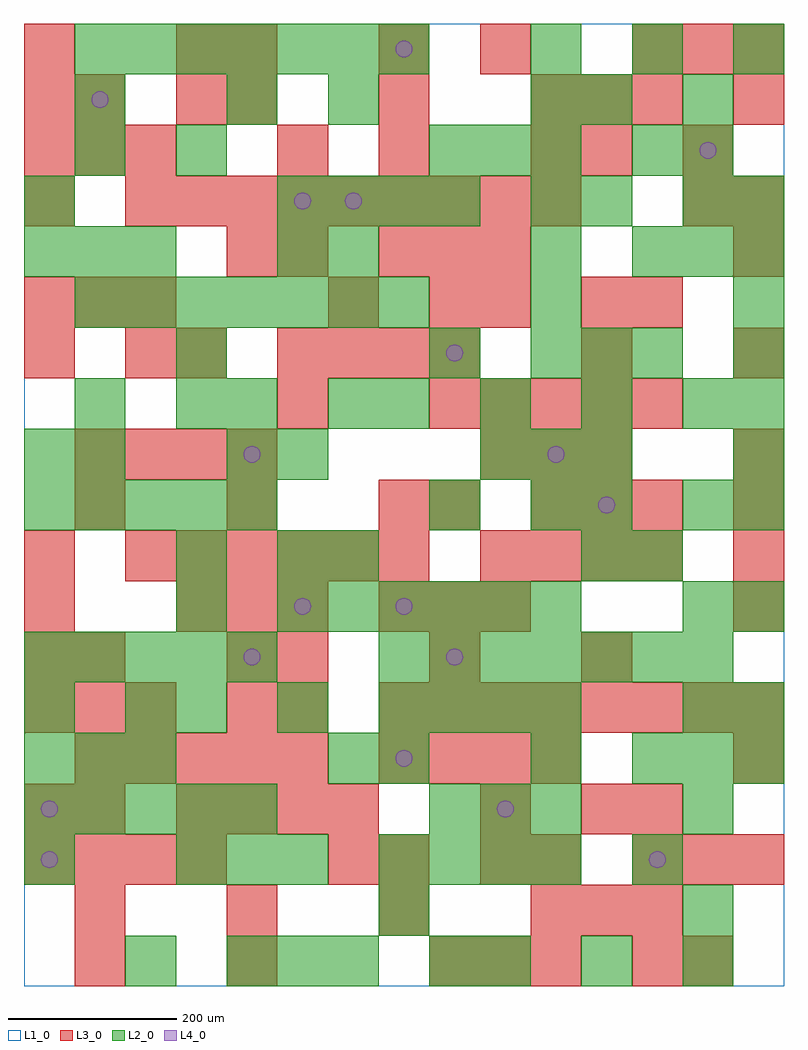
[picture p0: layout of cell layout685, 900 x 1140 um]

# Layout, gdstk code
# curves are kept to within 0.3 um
import gdstk
lib = gdstk.Library(unit=1e-6, precision=1e-09)
def R(c, l, rs):  # rectangles x0, y0, x1, y1
    for r in rs: c.add(gdstk.rectangle(r[:2], r[2:], *l))
def A(c, l, x, y, w, h, nx, ny, dx, dy):  # array of equal rectangles
    R(c, l, [(x+i*dx, y+j*dy, x+i*dx+w, y+j*dy+h) for i in range(nx) for j in range(ny)])
def P(c, l, *ps):  # polygons
    for p in ps: c.add(gdstk.Polygon(p, *l))
L1_0 = (1, 0)
L2_0 = (2, 0)
L3_0 = (3, 0)
L4_0 = (4, 0)

layout685 = lib.new_cell('layout685')
R(layout685, L1_0, [(0,0,900,1140)])
A(layout685, L2_0, 240, 0, 60, 60, 3, 1, 60, 0)
A(layout685, L2_0, 540, 0, 60, 60, 3, 1, 120, 0)
A(layout685, L2_0, 780, 60, 60, 60, 1, 5, 0, 120)
A(layout685, L2_0, 180, 120, 60, 60, 3, 1, 60, 0)
A(layout685, L2_0, 420, 120, 60, 60, 4, 1, 60, 0)
A(layout685, L2_0, 0, 180, 60, 60, 5, 3, 60, 180)
A(layout685, L2_0, 480, 180, 60, 60, 3, 2, 60, 120)
A(layout685, L2_0, 0, 240, 60, 60, 3, 2, 60, 600)
A(layout685, L2_0, 720, 240, 60, 60, 3, 2, 60, 600)
A(layout685, L2_0, 0, 300, 60, 60, 1, 3, 0, 300)
A(layout685, L2_0, 180, 300, 60, 60, 3, 1, 120, 0)
A(layout685, L2_0, 840, 300, 60, 60, 1, 3, 0, 120)
A(layout685, L2_0, 420, 360, 60, 60, 7, 1, 60, 0)
A(layout685, L2_0, 300, 420, 60, 60, 6, 1, 60, 0)
A(layout685, L2_0, 360, 480, 60, 60, 1, 4, 0, 180)
A(layout685, L2_0, 540, 600, 60, 60, 3, 1, 60, 0)
A(layout685, L2_0, 840, 600, 60, 60, 1, 4, 0, 60)
A(layout685, L2_0, 420, 660, 60, 60, 4, 1, 120, 0)
A(layout685, L2_0, 600, 720, 60, 60, 3, 1, 60, 0)
A(layout685, L2_0, 60, 780, 60, 60, 7, 2, 60, 300)
A(layout685, L2_0, 600, 780, 60, 60, 1, 3, 0, 60)
A(layout685, L2_0, 300, 900, 60, 60, 4, 1, 60, 0)
A(layout685, L2_0, 780, 900, 60, 60, 1, 3, 0, 60)
A(layout685, L2_0, 480, 960, 60, 60, 3, 1, 60, 0)
A(layout685, L2_0, 600, 1080, 60, 60, 3, 1, 120, 0)
R(layout685, L2_0, [(120,0,180,60), (480,0,540,60), (420,60,480,120), (0,120,60,180), (720,120,780,180), (360,240,420,300), (420,240,480,300), (600,240,660,300), (120,300,180,360), (180,420,240,480), (180,480,240,540), (300,480,360,540), (660,480,720,540), (720,480,780,540), (480,540,540,600), (600,540,660,600), (660,540,720,600), (60,600,120,660), (240,600,300,660), (300,600,360,660), (60,660,120,720), (180,660,240,720), (240,660,300,720), (180,720,240,780), (480,720,540,780), (300,840,360,900), (660,900,720,960), (840,900,900,960), (60,960,120,1020), (180,960,240,1020), (720,960,780,1020), (60,1020,120,1080), (240,1020,300,1080), (600,1020,660,1080), (660,1020,720,1080)])
A(layout685, L3_0, 60, 0, 60, 60, 1, 3, 0, 180)
A(layout685, L3_0, 480, 0, 60, 60, 3, 1, 60, 0)
A(layout685, L3_0, 60, 60, 60, 60, 4, 1, 180, 0)
A(layout685, L3_0, 0, 120, 60, 60, 4, 1, 60, 0)
A(layout685, L3_0, 720, 120, 60, 60, 3, 2, 60, 960)
A(layout685, L3_0, 180, 180, 60, 60, 4, 1, 60, 0)
A(layout685, L3_0, 60, 240, 60, 60, 5, 1, 60, 0)
A(layout685, L3_0, 420, 240, 60, 60, 4, 1, 60, 0)
A(layout685, L3_0, 0, 300, 60, 60, 3, 2, 60, 480)
A(layout685, L3_0, 420, 300, 60, 60, 8, 1, 60, 0)
A(layout685, L3_0, 0, 360, 60, 60, 1, 3, 0, 60)
A(layout685, L3_0, 300, 360, 60, 60, 3, 1, 180, 0)
A(layout685, L3_0, 180, 420, 60, 60, 3, 1, 60, 0)
A(layout685, L3_0, 420, 420, 60, 60, 3, 2, 60, 420)
A(layout685, L3_0, 840, 420, 60, 60, 1, 4, 0, 60)
A(layout685, L3_0, 120, 480, 60, 60, 6, 1, 60, 0)
A(layout685, L3_0, 540, 480, 60, 60, 4, 1, 60, 0)
A(layout685, L3_0, 60, 540, 60, 60, 3, 1, 180, 0)
A(layout685, L3_0, 600, 540, 60, 60, 3, 1, 60, 0)
A(layout685, L3_0, 60, 600, 60, 60, 4, 1, 60, 0)
A(layout685, L3_0, 540, 600, 60, 60, 3, 1, 60, 0)
A(layout685, L3_0, 480, 660, 60, 60, 5, 1, 60, 0)
A(layout685, L3_0, 300, 720, 60, 60, 4, 1, 60, 0)
A(layout685, L3_0, 120, 900, 60, 60, 9, 1, 60, 0)
A(layout685, L3_0, 0, 960, 60, 60, 3, 1, 60, 0)
A(layout685, L3_0, 240, 1020, 60, 60, 3, 1, 180, 0)
R(layout685, L3_0, [(240,0,300,60), (720,0,780,60), (780,0,840,60), (660,60,720,120), (720,60,780,120), (360,120,420,180), (420,120,480,180), (540,120,600,180), (600,120,660,180), (0,180,60,240), (540,180,600,240), (660,180,720,240), (720,180,780,240), (840,240,900,300), (240,300,300,360), (300,300,360,360), (240,360,300,420), (480,540,540,600), (300,660,360,720), (0,720,60,780), (120,720,180,780), (180,720,240,780), (660,720,720,780), (840,720,900,780), (360,780,420,840), (480,780,540,840), (540,780,600,840), (660,780,720,840), (720,780,780,840), (240,840,300,900), (300,840,360,900), (840,840,900,900), (0,900,60,960), (780,900,840,960), (840,900,900,960), (300,960,360,1020), (420,960,480,1020), (600,960,660,1020), (660,960,720,1020), (780,960,840,1020), (0,1020,60,1080), (60,1020,120,1080), (180,1020,240,1080), (660,1020,720,1080), (720,1020,780,1080), (840,1020,900,1080), (0,1080,60,1140), (180,1080,240,1140), (240,1080,300,1140), (420,1080,480,1140), (540,1080,600,1140)])
P(layout685, L4_0, [(40,150),(39.239,153.827),(37.071,157.071),(33.827,159.239),(30,160),(26.173,159.239),(22.929,157.071),(20.761,153.827),(20,150),(20.761,146.173),(22.929,142.929),(26.173,140.761),(30,140),(33.827,140.761),(37.071,142.929),(39.239,146.173)],
  [(40,210),(39.239,213.827),(37.071,217.071),(33.827,219.239),(30,220),(26.173,219.239),(22.929,217.071),(20.761,213.827),(20,210),(20.761,206.173),(22.929,202.929),(26.173,200.761),(30,200),(33.827,200.761),(37.071,202.929),(39.239,206.173)],
  [(100,1050),(99.239,1053.827),(97.071,1057.071),(93.827,1059.239),(90,1060),(86.173,1059.239),(82.929,1057.071),(80.761,1053.827),(80,1050),(80.761,1046.173),(82.929,1042.929),(86.173,1040.761),(90,1040),(93.827,1040.761),(97.071,1042.929),(99.239,1046.173)],
  [(280,390),(279.239,393.827),(277.071,397.071),(273.827,399.239),(270,400),(266.173,399.239),(262.929,397.071),(260.761,393.827),(260,390),(260.761,386.173),(262.929,382.929),(266.173,380.761),(270,380),(273.827,380.761),(277.071,382.929),(279.239,386.173)],
  [(280,630),(279.239,633.827),(277.071,637.071),(273.827,639.239),(270,640),(266.173,639.239),(262.929,637.071),(260.761,633.827),(260,630),(260.761,626.173),(262.929,622.929),(266.173,620.761),(270,620),(273.827,620.761),(277.071,622.929),(279.239,626.173)],
  [(340,450),(339.239,453.827),(337.071,457.071),(333.827,459.239),(330,460),(326.173,459.239),(322.929,457.071),(320.761,453.827),(320,450),(320.761,446.173),(322.929,442.929),(326.173,440.761),(330,440),(333.827,440.761),(337.071,442.929),(339.239,446.173)],
  [(340,930),(339.239,933.827),(337.071,937.071),(333.827,939.239),(330,940),(326.173,939.239),(322.929,937.071),(320.761,933.827),(320,930),(320.761,926.173),(322.929,922.929),(326.173,920.761),(330,920),(333.827,920.761),(337.071,922.929),(339.239,926.173)],
  [(400,930),(399.239,933.827),(397.071,937.071),(393.827,939.239),(390,940),(386.173,939.239),(382.929,937.071),(380.761,933.827),(380,930),(380.761,926.173),(382.929,922.929),(386.173,920.761),(390,920),(393.827,920.761),(397.071,922.929),(399.239,926.173)],
  [(460,270),(459.239,273.827),(457.071,277.071),(453.827,279.239),(450,280),(446.173,279.239),(442.929,277.071),(440.761,273.827),(440,270),(440.761,266.173),(442.929,262.929),(446.173,260.761),(450,260),(453.827,260.761),(457.071,262.929),(459.239,266.173)],
  [(460,450),(459.239,453.827),(457.071,457.071),(453.827,459.239),(450,460),(446.173,459.239),(442.929,457.071),(440.761,453.827),(440,450),(440.761,446.173),(442.929,442.929),(446.173,440.761),(450,440),(453.827,440.761),(457.071,442.929),(459.239,446.173)],
  [(460,1110),(459.239,1113.827),(457.071,1117.071),(453.827,1119.239),(450,1120),(446.173,1119.239),(442.929,1117.071),(440.761,1113.827),(440,1110),(440.761,1106.173),(442.929,1102.929),(446.173,1100.761),(450,1100),(453.827,1100.761),(457.071,1102.929),(459.239,1106.173)],
  [(520,390),(519.239,393.827),(517.071,397.071),(513.827,399.239),(510,400),(506.173,399.239),(502.929,397.071),(500.761,393.827),(500,390),(500.761,386.173),(502.929,382.929),(506.173,380.761),(510,380),(513.827,380.761),(517.071,382.929),(519.239,386.173)],
  [(520,750),(519.239,753.827),(517.071,757.071),(513.827,759.239),(510,760),(506.173,759.239),(502.929,757.071),(500.761,753.827),(500,750),(500.761,746.173),(502.929,742.929),(506.173,740.761),(510,740),(513.827,740.761),(517.071,742.929),(519.239,746.173)],
  [(580,210),(579.239,213.827),(577.071,217.071),(573.827,219.239),(570,220),(566.173,219.239),(562.929,217.071),(560.761,213.827),(560,210),(560.761,206.173),(562.929,202.929),(566.173,200.761),(570,200),(573.827,200.761),(577.071,202.929),(579.239,206.173)],
  [(640,630),(639.239,633.827),(637.071,637.071),(633.827,639.239),(630,640),(626.173,639.239),(622.929,637.071),(620.761,633.827),(620,630),(620.761,626.173),(622.929,622.929),(626.173,620.761),(630,620),(633.827,620.761),(637.071,622.929),(639.239,626.173)],
  [(700,570),(699.239,573.827),(697.071,577.071),(693.827,579.239),(690,580),(686.173,579.239),(682.929,577.071),(680.761,573.827),(680,570),(680.761,566.173),(682.929,562.929),(686.173,560.761),(690,560),(693.827,560.761),(697.071,562.929),(699.239,566.173)],
  [(760,150),(759.239,153.827),(757.071,157.071),(753.827,159.239),(750,160),(746.173,159.239),(742.929,157.071),(740.761,153.827),(740,150),(740.761,146.173),(742.929,142.929),(746.173,140.761),(750,140),(753.827,140.761),(757.071,142.929),(759.239,146.173)],
  [(820,990),(819.239,993.827),(817.071,997.071),(813.827,999.239),(810,1000),(806.173,999.239),(802.929,997.071),(800.761,993.827),(800,990),(800.761,986.173),(802.929,982.929),(806.173,980.761),(810,980),(813.827,980.761),(817.071,982.929),(819.239,986.173)])

lib.write_gds('layout685.gds')
